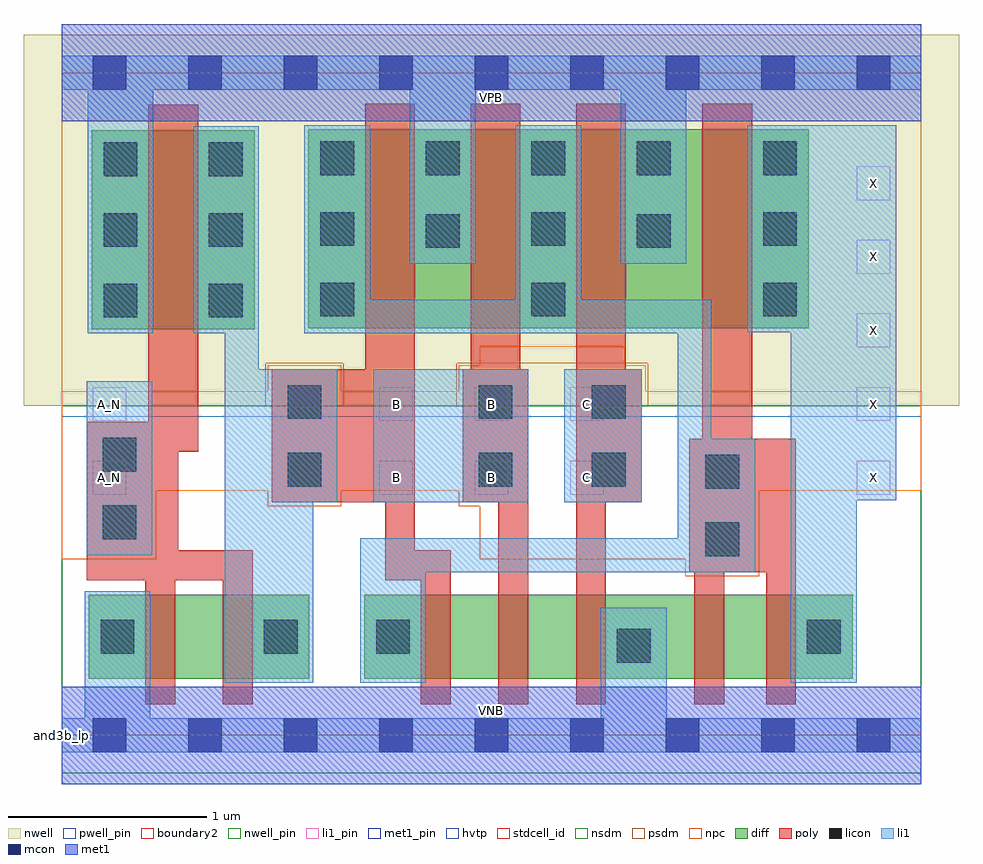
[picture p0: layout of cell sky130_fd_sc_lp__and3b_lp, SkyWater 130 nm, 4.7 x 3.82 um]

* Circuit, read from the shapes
.subckt sky130_fd_sc_lp__and3b_lp A_N B C VGND VNB VPB VPWR X
XM1 n1 A_N VGND VNB sky130_fd_pr__nfet_01v8 w=0.42 l=0.15
XM2 n2 A_N n1 VNB sky130_fd_pr__nfet_01v8 w=0.42 l=0.15
XM3 n3 n2 n4 VNB sky130_fd_pr__nfet_01v8 w=0.42 l=0.15
XM4 n5 B n3 VNB sky130_fd_pr__nfet_01v8 w=0.42 l=0.15
XM5 VGND C n5 VNB sky130_fd_pr__nfet_01v8 w=0.42 l=0.15
XM6 n6 n4 VGND VNB sky130_fd_pr__nfet_01v8 w=0.42 l=0.15
XM7 X n4 n6 VNB sky130_fd_pr__nfet_01v8 w=0.42 l=0.15
XM8 n2 A_N VPWR VPB sky130_fd_pr__pfet_01v8_hvt w=1 l=0.25
XM9 VPWR n2 n4 VPB sky130_fd_pr__pfet_01v8_hvt w=1 l=0.25
XM10 n4 B VPWR VPB sky130_fd_pr__pfet_01v8_hvt w=1 l=0.25
XM11 VPWR C n4 VPB sky130_fd_pr__pfet_01v8_hvt w=1 l=0.25
XM12 X n4 VPWR VPB sky130_fd_pr__pfet_01v8_hvt w=1 l=0.25
.ends

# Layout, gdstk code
import gdstk
lib = gdstk.Library(unit=1e-6, precision=1e-09)
def R(c, l, rs):  # rectangles x0, y0, x1, y1
    for r in rs: c.add(gdstk.rectangle(r[:2], r[2:], *l))
def A(c, l, x, y, w, h, nx, ny, dx, dy):  # array of equal rectangles
    R(c, l, [(x+i*dx, y+j*dy, x+i*dx+w, y+j*dy+h) for i in range(nx) for j in range(ny)])
def P(c, l, *ps):  # polygons
    for p in ps: c.add(gdstk.Polygon(p, *l))
nwell_pin = (64, 16)
nwell = (64, 20)
diff = (65, 20)
poly = (66, 20)
licon = (66, 44)
li1_pin = (67, 16)
li1 = (67, 20)
mcon = (67, 44)
met1_pin = (68, 16)
met1 = (68, 20)
hvtp = (78, 44)
stdcell_id = (81, 4)
nsdm = (93, 44)
psdm = (94, 20)
npc = (95, 20)
pwell_pin = (122, 16)
boundary2 = (236, 0)

sky130_fd_sc_lp__and3b_l = lib.new_cell('sky130_fd_sc_lp__and3b_lp')
R(sky130_fd_sc_lp__and3b_l, nwell_pin, [(0,3.085,4.32,3.33)])
R(sky130_fd_sc_lp__and3b_l, nwell, [(-0.19,1.655,4.51,3.52)])
R(sky130_fd_sc_lp__and3b_l, diff, [(0.135,0.285,1.245,0.705), (1.52,0.285,3.975,0.705), (0.15,2.04,0.97,3.04), (1.24,2.045,3.755,3.045)])
P(sky130_fd_sc_lp__and3b_l, poly, [(0.96,0.93),(0.585,0.93),(0.585,1.425),(0.685,1.425),(0.685,3.17),(0.435,3.17),(0.435,1.575),(0.125,1.575),(0.125,0.78),(0.42,0.78),(0.42,0.155),(0.57,0.155),(0.57,0.78),(0.81,0.78),(0.81,0.155),(0.96,0.155)],
  [(1.955,0.93),(1.775,0.93),(1.775,3.175),(1.525,3.175),(1.525,1.84),(1.055,1.84),(1.055,1.17),(1.625,1.17),(1.625,0.78),(1.805,0.78),(1.805,0.155),(1.955,0.155)],
  [(2.345,1.84),(2.305,1.84),(2.305,3.175),(2.055,3.175),(2.055,1.84),(2.015,1.84),(2.015,1.17),(2.195,1.17),(2.195,0.155),(2.345,0.155)],
  [(2.915,1.84),(2.835,1.84),(2.835,3.175),(2.585,3.175),(2.585,0.155),(2.735,0.155),(2.735,1.17),(2.915,1.17)],
  [(3.69,1.49),(3.47,1.49),(3.47,3.175),(3.22,3.175),(3.22,1.49),(3.155,1.49),(3.155,0.82),(3.18,0.82),(3.18,0.155),(3.33,0.155),(3.33,0.82),(3.54,0.82),(3.54,0.155),(3.69,0.155)])
A(sky130_fd_sc_lp__and3b_l, licon, 0.21, 2.1, 0.17, 0.17, 1, 3, 0, 0.355)
A(sky130_fd_sc_lp__and3b_l, licon, 0.74, 2.1, 0.17, 0.17, 1, 3, 0, 0.355)
A(sky130_fd_sc_lp__and3b_l, licon, 3.525, 2.105, 0.17, 0.17, 1, 3, 0, 0.355)
A(sky130_fd_sc_lp__and3b_l, licon, 1.3, 2.815, 0.17, 0.17, 4, 1, 0.53, 0)
R(sky130_fd_sc_lp__and3b_l, licon, [(2.79,0.365,2.96,0.535), (0.195,0.41,0.365,0.58), (1.015,0.41,1.185,0.58), (1.58,0.41,1.75,0.58), (3.745,0.41,3.915,0.58), (3.235,0.9,3.405,1.07), (0.205,0.985,0.375,1.155), (3.235,1.24,3.405,1.41), (1.135,1.25,1.305,1.42), (2.095,1.25,2.265,1.42), (2.665,1.25,2.835,1.42), (0.205,1.325,0.375,1.495), (1.135,1.59,1.305,1.76), (2.095,1.59,2.265,1.76), (2.665,1.59,2.835,1.76), (1.3,2.105,1.47,2.275), (2.36,2.105,2.53,2.275), (1.83,2.45,2,2.62), (2.89,2.45,3.06,2.62), (1.3,2.46,1.47,2.63), (2.36,2.46,2.53,2.63)])
A(sky130_fd_sc_lp__and3b_l, li1_pin, 1.595, 1.21, 0.17, 0.17, 3, 2, 0.48, 0.37)
A(sky130_fd_sc_lp__and3b_l, li1_pin, 3.995, 1.21, 0.17, 0.17, 1, 5, 0, 0.37)
R(sky130_fd_sc_lp__and3b_l, li1_pin, [(0.155,1.21,0.325,1.38), (0.155,1.58,0.325,1.75)])
R(sky130_fd_sc_lp__and3b_l, li1, [(0.125,0.905,0.455,1.78), (1.565,1.17,2.345,1.84), (2.525,1.17,2.915,1.84)])
P(sky130_fd_sc_lp__and3b_l, li1, [(2.81,2.37),(2.81,3.245),(2.08,3.245),(2.08,2.37),(1.75,2.37),(1.75,3.245),(0.46,3.245),(0.46,2.02),(0.13,2.02),(0.13,3.245),(0,3.245),(0,3.415),(4.32,3.415),(4.32,3.245),(3.14,3.245),(3.14,2.37)],
  [(2.71,0.085),(2.71,0.64),(3.04,0.64),(3.04,0.085),(4.32,0.085),(4.32,-0.085),(0,-0.085),(0,0.085),(0.115,0.085),(0.115,0.725),(0.445,0.725),(0.445,0.085)],
  [(0.99,1.84),(1.385,1.84),(1.385,1.17),(1.265,1.17),(1.265,0.265),(0.82,0.265),(0.82,2.02),(0.66,2.02),(0.66,3.06),(0.99,3.06)],
  [(1.22,2.02),(1.22,3.065),(1.55,3.065),(1.55,2.19),(2.28,2.19),(2.28,3.065),(2.61,3.065),(2.61,2.19),(3.265,2.19),(3.265,1.49),(3.485,1.49),(3.485,0.82),(1.83,0.82),(1.83,0.265),(1.5,0.265),(1.5,0.99),(3.095,0.99),(3.095,2.02)],
  [(3.665,0.265),(3.665,2.025),(3.445,2.025),(3.445,3.065),(4.195,3.065),(4.195,1.18),(3.995,1.18),(3.995,0.265)])
A(sky130_fd_sc_lp__and3b_l, mcon, 0.155, -0.085, 0.17, 0.17, 9, 2, 0.48, 3.33)
R(sky130_fd_sc_lp__and3b_l, met1_pin, [(0,0,4.32,0.245), (0,3.085,4.32,3.33)])
R(sky130_fd_sc_lp__and3b_l, met1, [(0,-0.245,4.32,0.245), (0,3.085,4.32,3.575)])
R(sky130_fd_sc_lp__and3b_l, hvtp, [(0,1.6,4.32,3.33)])
R(sky130_fd_sc_lp__and3b_l, stdcell_id, [(0,0,4.32,3.33)])
R(sky130_fd_sc_lp__and3b_l, nsdm, [(0,-0.19,4.32,1.655)])
P(sky130_fd_sc_lp__and3b_l, psdm, [(4.32,3.52),(0,3.52),(0,1.655),(1.025,1.655),(1.025,1.87),(1.415,1.87),(1.415,1.655),(1.985,1.655),(1.985,1.87),(2.945,1.87),(2.945,1.655),(4.32,1.655)])
P(sky130_fd_sc_lp__and3b_l, npc, [(4.32,1.73),(2.935,1.73),(2.935,1.86),(2.83,1.86),(2.83,1.955),(2.1,1.955),(2.1,1.86),(1.995,1.86),(1.995,1.73),(1.405,1.73),(1.405,1.86),(1.035,1.86),(1.035,1.73),(0,1.73),(0,0.885),(0.475,0.885),(0.475,1.23),(1.035,1.23),(1.035,1.15),(1.405,1.15),(1.405,1.23),(1.995,1.23),(1.995,1.15),(2.1,1.15),(2.1,0.885),(3.135,0.885),(3.135,0.8),(3.505,0.8),(3.505,1.23),(4.32,1.23)])
R(sky130_fd_sc_lp__and3b_l, pwell_pin, [(0,0,4.32,0.245)])
R(sky130_fd_sc_lp__and3b_l, boundary2, [(0,0,4.32,3.33)])
sky130_fd_sc_lp__and3b_l.add(gdstk.Label('VNB', (2.16,0.123), layer=64, texttype=59))
sky130_fd_sc_lp__and3b_l.add(gdstk.Label('VPB', (2.16,3.208), layer=64, texttype=5))
sky130_fd_sc_lp__and3b_l.add(gdstk.Label('and3b_lp', (0,0), layer=83, texttype=44))
sky130_fd_sc_lp__and3b_l.add(gdstk.Label('VPWR', (2.16,3.208), layer=68, texttype=5))
sky130_fd_sc_lp__and3b_l.add(gdstk.Label('VGND', (2.16,0.123), layer=68, texttype=5))
sky130_fd_sc_lp__and3b_l.add(gdstk.Label('B', (1.68,1.295), layer=67, texttype=5))
sky130_fd_sc_lp__and3b_l.add(gdstk.Label('B', (1.68,1.665), layer=67, texttype=5))
sky130_fd_sc_lp__and3b_l.add(gdstk.Label('B', (2.16,1.295), layer=67, texttype=5))
sky130_fd_sc_lp__and3b_l.add(gdstk.Label('B', (2.16,1.665), layer=67, texttype=5))
sky130_fd_sc_lp__and3b_l.add(gdstk.Label('C', (2.64,1.295), layer=67, texttype=5))
sky130_fd_sc_lp__and3b_l.add(gdstk.Label('C', (2.64,1.665), layer=67, texttype=5))
sky130_fd_sc_lp__and3b_l.add(gdstk.Label('X', (4.08,1.295), layer=67, texttype=5))
sky130_fd_sc_lp__and3b_l.add(gdstk.Label('X', (4.08,1.665), layer=67, texttype=5))
sky130_fd_sc_lp__and3b_l.add(gdstk.Label('X', (4.08,2.035), layer=67, texttype=5))
sky130_fd_sc_lp__and3b_l.add(gdstk.Label('X', (4.08,2.405), layer=67, texttype=5))
sky130_fd_sc_lp__and3b_l.add(gdstk.Label('X', (4.08,2.775), layer=67, texttype=5))
sky130_fd_sc_lp__and3b_l.add(gdstk.Label('A_N', (0.24,1.295), layer=67, texttype=5))
sky130_fd_sc_lp__and3b_l.add(gdstk.Label('A_N', (0.24,1.665), layer=67, texttype=5))

lib.write_gds('sky130_fd_sc_lp__and3b_lp.gds')
